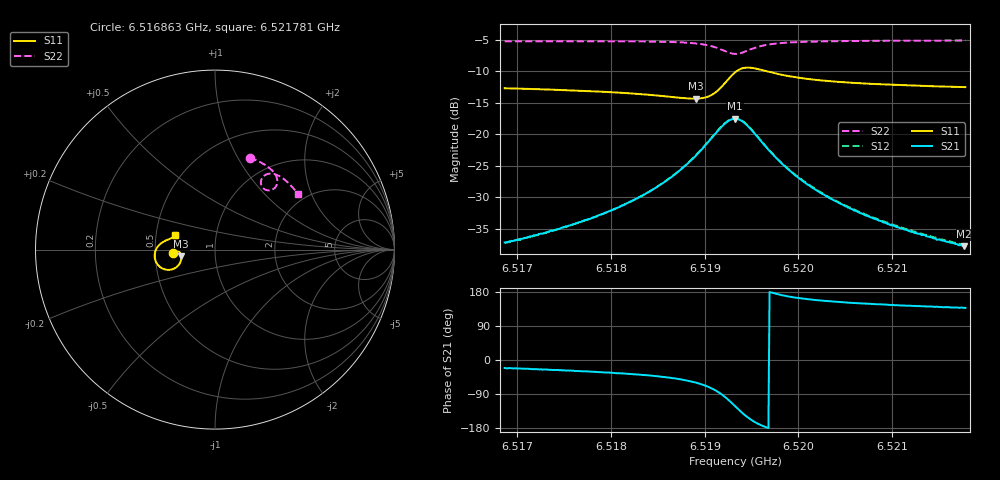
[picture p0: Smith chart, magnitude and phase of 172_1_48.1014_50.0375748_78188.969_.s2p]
#  HZ  S  RI  R  50.00
! Rohde & Schwarz Vector Network Analyzer
! Rohde-Schwarz,ZNB20-2Port,1311601062101988,3.16
! Created: UTC 12/23/2023, 3:51:51 AM
! freq[Hz]  re:S11  im:S11  re:S21  im:S21  re:S12  im:S12  re:S22  im:S22
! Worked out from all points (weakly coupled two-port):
!   401 points, 6.516863 GHz to 6.521781 GHz, reference 50 ohm
!   highest |S21| = -17.54 dB at 6.519322 GHz (marker M1); lowest = -37.8 dB at 6.521769 GHz (marker M2)
!   lowest |S11| = -14.3 dB at 6.518904 GHz (marker M3), VSWR 1.47, Z = 34.1 - j2.59 ohm
!   |S11| at or under -10 dB: start of sweep to 6.519337 GHz; 6.519662 GHz to end of sweep
!   |S22| runs from -7.2 to -5.1 dB; largest |S21 - S12| = 0.0041
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6.5168632e9  -0.2313 -0.0197  0.0129 -0.00496  0.0128 -0.00448  0.1935 0.5127
6.5172812e9  -0.2268 -0.0134  0.0149 -0.00688  0.015 -0.00646  0.2246 0.5003
6.517687e9  -0.2213 -0.00842  0.0177 -0.0101  0.0179 -0.00947  0.2546 0.4858
6.5180928e9  -0.2137 -0.00601  0.0217 -0.0153  0.0223 -0.0146  0.2849 0.4677
6.5185108e9  -0.2022 -0.00984  0.0283 -0.0269  0.0292 -0.026  0.3171 0.442
6.5187198e9  -0.1944 -0.0187  0.0324 -0.0389  0.0339 -0.0381  0.3334 0.4229
6.5189043e9  -0.1882 -0.0366  0.0341 -0.0583  0.0362 -0.0577  0.3451 0.3979
6.5190149e9  -0.1886 -0.0562  0.0305 -0.0774  0.033 -0.077  0.3473 0.3766
6.519101e9  -0.1967 -0.0777  0.0198 -0.0968  0.023 -0.0969  0.3418 0.3561
6.5192362e9  -0.2421 -0.1108  -0.0257 -0.1226  -0.0223 -0.1243  0.3076 0.3303
6.5193223e9  -0.2914 -0.1058  -0.0695 -0.1131  -0.0668 -0.1159  0.2741 0.3378
6.5193715e9  -0.3157 -0.0879  -0.0892 -0.0949  -0.087 -0.0983  0.2608 0.3531
6.519433e9  -0.3327 -0.0577  -0.1013 -0.0667  -0.1 -0.0703  0.2556 0.3762
6.5195436e9  -0.3322 -0.00905  -0.0956 -0.0253  -0.0956 -0.0283  0.2696 0.4078
6.519642e9  -0.3185 0.0173  -0.0809 -0.00515  -0.0814 -0.00764  0.2895 0.4201
6.5198756e9  -0.2881 0.0433  -0.0526 0.0107  -0.0535 0.00925  0.3288 0.4216
6.5201461e9  -0.2672 0.0536  -0.0352 0.0134  -0.0361 0.0126  0.3593 0.4093
6.5205518e9  -0.2496 0.0612  -0.0225 0.0124  -0.0233 0.0119  0.3919 0.3867
6.5209699e9  -0.2384 0.0674  -0.0159 0.0109  -0.0164 0.0106  0.4183 0.362
6.5214617e9  -0.2287 0.0743  -0.0115 0.0095  -0.0119 0.00933  0.4447 0.3322
6.5217691e9  -0.2237 0.0785  -0.00957 0.00866  -0.01 0.00867  0.4595 0.3131
6.5217814e9  -0.2235 0.0786  -0.00949 0.00875  -0.00986 0.00863  0.4602 0.3124
